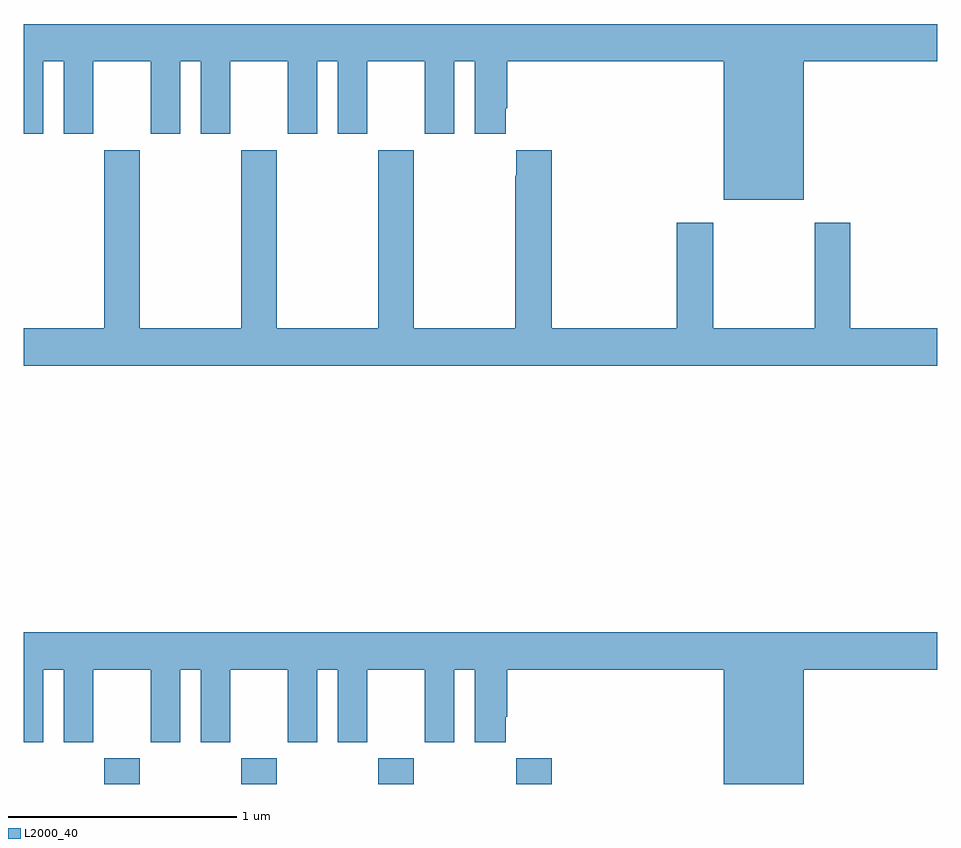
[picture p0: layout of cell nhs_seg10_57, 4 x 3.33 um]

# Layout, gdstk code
import gdstk
lib = gdstk.Library(unit=1e-6, precision=1e-09)
def R(c, l, rs):  # rectangles x0, y0, x1, y1
    for r in rs: c.add(gdstk.rectangle(r[:2], r[2:], *l))
def A(c, l, x, y, w, h, nx, ny, dx, dy):  # array of equal rectangles
    R(c, l, [(x+i*dx, y+j*dy, x+i*dx+w, y+j*dy+h) for i in range(nx) for j in range(ny)])
def P(c, l, *ps):  # polygons
    for p in ps: c.add(gdstk.Polygon(p, *l))
L2000_40 = (2000, 40)

nhs_seg10_57 = lib.new_cell('nhs_seg10_57')
A(nhs_seg10_57, L2000_40, 113.353, 1282.5, 0.155, 0.112, 3, 1, 0.6, 0)
R(nhs_seg10_57, L2000_40, [(115.157,1282.5,115.313,1282.612)])
P(nhs_seg10_57, L2000_40, [(116.416,1285.664),(117,1285.664),(117,1285.828),(113,1285.828),(113,1285.347),(113.086,1285.347),(113.086,1285.664),(113.174,1285.664),(113.174,1285.347),(113.305,1285.347),(113.305,1285.664),(113.555,1285.664),(113.555,1285.347),(113.686,1285.347),(113.686,1285.664),(113.774,1285.664),(113.774,1285.347),(113.905,1285.347),(113.905,1285.664),(114.155,1285.664),(114.155,1285.347),(114.286,1285.347),(114.286,1285.664),(114.374,1285.664),(114.374,1285.347),(114.505,1285.347),(114.505,1285.664),(114.755,1285.664),(114.755,1285.347),(114.886,1285.347),(114.886,1285.664),(114.974,1285.664),(114.974,1285.347),(115.111,1285.347),(115.111,1285.459),(115.118,1285.459),(115.118,1285.664),(116.066,1285.664),(116.066,1285.058),(116.416,1285.058)],
  [(117,1284.496),(116.619,1284.496),(116.619,1284.958),(116.464,1284.958),(116.464,1284.496),(116.019,1284.496),(116.019,1284.958),(115.859,1284.958),(115.859,1284.496),(115.313,1284.496),(115.313,1285.276),(115.157,1285.276),(115.157,1285.163),(115.153,1285.163),(115.153,1284.496),(114.708,1284.496),(114.708,1285.276),(114.553,1285.276),(114.553,1284.496),(114.108,1284.496),(114.108,1285.276),(113.953,1285.276),(113.953,1284.496),(113.508,1284.496),(113.508,1285.276),(113.353,1285.276),(113.353,1284.496),(113,1284.496),(113,1284.332),(117,1284.332)],
  [(116.416,1283),(117,1283),(117,1283.164),(113,1283.164),(113,1282.683),(113.086,1282.683),(113.086,1283),(113.174,1283),(113.174,1282.683),(113.305,1282.683),(113.305,1283),(113.555,1283),(113.555,1282.683),(113.686,1282.683),(113.686,1283),(113.774,1283),(113.774,1282.683),(113.905,1282.683),(113.905,1283),(114.155,1283),(114.155,1282.683),(114.286,1282.683),(114.286,1283),(114.374,1283),(114.374,1282.683),(114.505,1282.683),(114.505,1283),(114.755,1283),(114.755,1282.683),(114.886,1282.683),(114.886,1283),(114.974,1283),(114.974,1282.683),(115.111,1282.683),(115.111,1282.795),(115.118,1282.795),(115.118,1283),(116.066,1283),(116.066,1282.5),(116.416,1282.5)])

lib.write_gds('nhs_seg10_57.gds')
